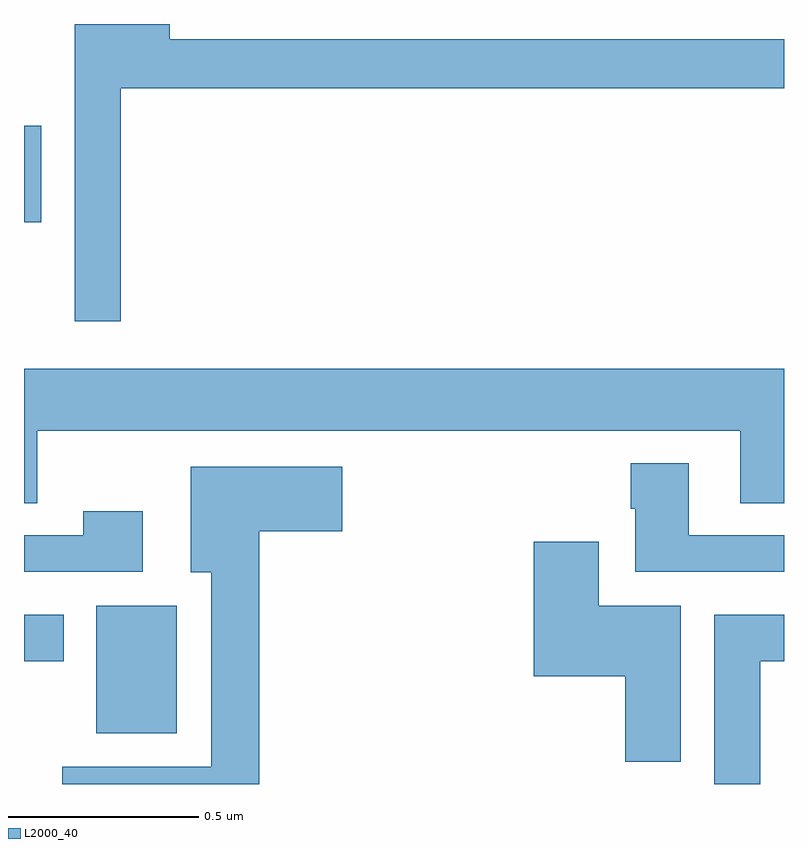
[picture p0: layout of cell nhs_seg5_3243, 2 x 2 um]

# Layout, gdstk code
import gdstk
lib = gdstk.Library(unit=1e-6, precision=1e-09)
def R(c, l, rs):  # rectangles x0, y0, x1, y1
    for r in rs: c.add(gdstk.rectangle(r[:2], r[2:], *l))
def P(c, l, *ps):  # polygons
    for p in ps: c.add(gdstk.Polygon(p, *l))
L2000_40 = (2000, 40)

nhs_seg5_3243 = lib.new_cell('nhs_seg5_3243')
R(nhs_seg5_3243, L2000_40, [(154.19,887.933,154.402,888.268), (154,888.122,154.105,888.244), (154,889.277,154.045,889.531)])
P(nhs_seg5_3243, L2000_40, [(154.255,889.63),(156,889.63),(156,889.759),(154.384,889.759),(154.384,889.799),(154.133,889.799),(154.133,889.017),(154.255,889.017)],
  [(154.035,888.728),(155.885,888.728),(155.885,888.538),(156,888.538),(156,888.892),(154,888.892),(154,888.538),(154.035,888.538)],
  [(156,888.453),(155.749,888.453),(155.749,888.643),(155.597,888.643),(155.597,888.523),(155.609,888.523),(155.609,888.357),(156,888.357)],
  [(154.619,888.464),(154.837,888.464),(154.837,888.634),(154.439,888.634),(154.439,888.356),(154.493,888.356),(154.493,887.844),(154.101,887.844),(154.101,887.799),(154.619,887.799)],
  [(154.312,888.517),(154.156,888.517),(154.156,888.453),(154,888.453),(154,888.357),(154.312,888.357)],
  [(155.728,888.268),(155.512,888.268),(155.512,888.436),(155.342,888.436),(155.342,888.083),(155.582,888.083),(155.582,887.857),(155.728,887.857)],
  [(155.938,888.122),(156,888.122),(156,888.244),(155.816,888.244),(155.816,887.799),(155.938,887.799)])

lib.write_gds('nhs_seg5_3243.gds')
